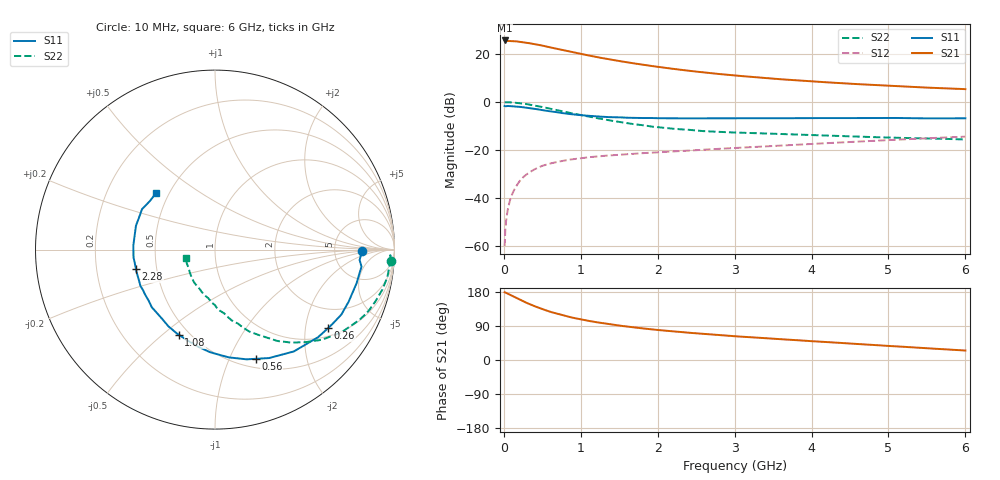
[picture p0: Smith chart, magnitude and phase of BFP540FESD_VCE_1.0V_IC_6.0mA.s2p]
! Infineon Technologies  Discrete & RF Semiconductors
! BFP540FESD
! VCE =  1.0 V,  IC =  6.0 mA
! Common Emitter S-Parameters:  Nov 2015
# GHz  S  MA  R  50
!  f  S11  S21  S12  S22
! GHz  MAG  ANG  MAG  ANG  MAG  ANG  MAG  ANG
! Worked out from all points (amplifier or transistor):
!   210 points, 10 MHz to 6 GHz, reference 50 ohm
!   highest |S21| = 25.5 dB at 10 MHz (marker M1)
!   |S21| within 3 dB of that: start of sweep to 619.6 MHz
!   unconditionally stable (mu >= 1): 2.539 GHz to end of sweep
!   at 185 MHz: K = 0.09, MSG = 29.5 dB, |S12| = -33.9 dB
!   at 1.52 GHz: K = 0.70, MSG = 19.4 dB, |S12| = -22.0 dB
!   at 6 GHz: K = 1.27, MAG = 6.7 dB, |S12| = -14.5 dB
!   S11 on the Smith chart (normalised r, x): 10 MHz: 10, -1; 260 MHz: 1.25, -2.66; 560 MHz: 0.60, -1.26; 1.08 GHz: 0.44, -0.57; 2.28 GHz: 0.38, -0.10; 6 GHz: 0.42, +0.34
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0.01  0.8189 -0.6  18.85 178.8  0.001 89.9  0.9827 -3.7
0.02  0.8077 -4.1  18.26 178.1  0.0023 100.3  0.9772 -1.8
0.05  0.8217 -6.6  18.43 175.2  0.0056 87.3  0.978 -4.5
0.15  0.7992 -21.2  18.18 165.0  0.0163 79.8  0.9586 -13.5
0.2  0.7917 -27.2  17.76 159.8  0.0219 76.9  0.9392 -17.9
0.26  0.767 -34.9  17.26 154.3  0.0279 72.9  0.915 -22.9
0.3  0.7535 -40.4  16.92 150.4  0.0314 70.7  0.8946 -26.0
0.4  0.7174 -52.3  15.85 141.9  0.0396 65.2  0.8407 -33.4
0.5  0.6752 -63.5  14.75 134.1  0.0468 60.0  0.7792 -40.1
0.56  0.6493 -69.6  14.01 130.2  0.05 57.6  0.7432 -43.4
0.62  0.629 -75.6  13.34 126.2  0.053 55.6  0.7098 -46.7
0.8  0.5728 -92.6  11.59 116.1  0.061 50.4  0.616 -55.7
1.02  0.5244 -108.6  9.763 106.5  0.068 46.4  0.5234 -64.0
1.08  0.5154 -113.0  9.349 104.1  0.07 45.6  0.5024 -66.4
1.24  0.4945 -123.2  8.33 98.6  0.0737 43.8  0.4496 -71.2
1.5  0.4766 -137.7  7.041 90.8  0.0792 41.6  0.3821 -79.3
2.02  0.456 -159.0  5.289 78.9  0.0894 39.6  0.2951 -93.5
2.28  0.4533 -166.3  4.676 74.2  0.0947 39.6  0.2698 -99.1
3.1  0.4547 175.4  3.421 61.5  0.1115 38.3  0.2274 -115.7
4.1  0.4594 161.9  2.601 48.6  0.1358 36.6  0.2013 -130.6
5.1  0.4618 149.5  2.125 36.0  0.1632 32.0  0.179 -145.8
6  0.4549 136.5  1.835 25.0  0.1889 26.8  0.1652 -164.2
